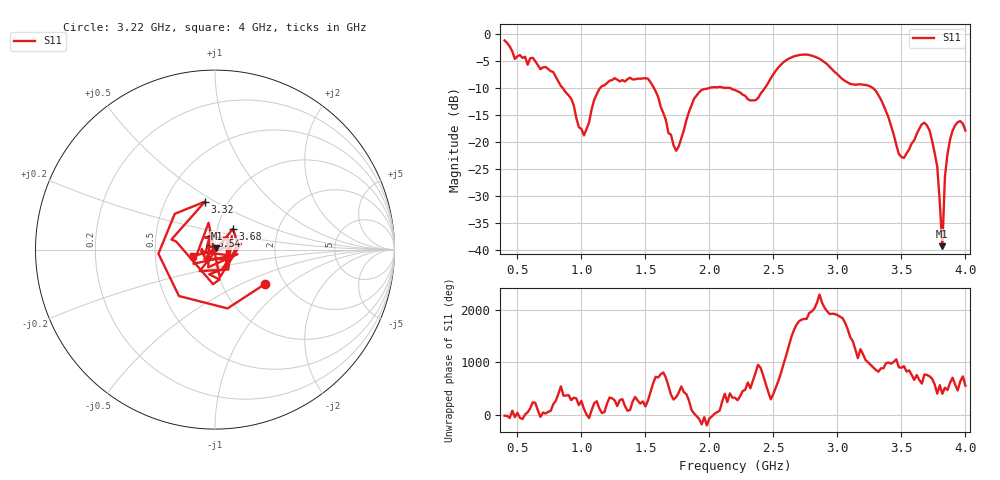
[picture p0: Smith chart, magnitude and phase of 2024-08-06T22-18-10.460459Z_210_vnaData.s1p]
!Created with skrf (http://scikit-rf.org).
# Hz S RI R 50.0
!freq ReS11 ImS11
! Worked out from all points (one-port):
!   181 points, 400 MHz to 4 GHz, reference 50 ohm
!   lowest |S11| = -39.3 dB at 3.82 GHz (marker M1), VSWR 1.02, Z = 50.8 + j0.707 ohm
!   |S11| at or under -10 dB: 855.3 MHz to 1.145 GHz (289.8 MHz wide, 29 % of centre); 1.568 GHz to 1.991 GHz (423.1 MHz wide, 23.8 % of centre); 3.28 GHz to end of sweep (the widest 3 of 4)
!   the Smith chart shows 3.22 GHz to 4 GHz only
!   S11 on the Smith chart (normalised r, x): 3.22 GHz: 1.60, -0.69; 3.32 GHz: 0.78, +0.45; 3.54 GHz: 0.95, +0.15; 3.68 GHz: 1.18, +0.28; 4 GHz: 0.78, -0.06
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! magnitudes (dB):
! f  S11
! 400 MHz  -1.1
! 480 MHz  -4.5
! 620 MHz  -4.4
! 860 MHz  -10.1
! 1.02 GHz  -18.7
! 1.14 GHz  -10.1
! 1.3 GHz  -8.7
! 1.52 GHz  -8.2
! 1.72 GHz  -20.6
! 1.76 GHz  -20.8
! 1.92 GHz  -10.7
! 2.2 GHz  -10.3
! 2.36 GHz  -12.2
! 2.66 GHz  -4.1
! 2.86 GHz  -4.5
! 3.1 GHz  -9.2
! 3.22 GHz  -9.4
! 3.32 GHz  -11.3
! 3.48 GHz  -22.2
! 3.54 GHz  -22.1
! 3.56 GHz  -21.3
! 3.68 GHz  -16.4
! 3.78 GHz  -24.5
! 3.82 GHz  -39.3
! 3.84 GHz  -26.4
! 3.88 GHz  -19.5
! 3.94 GHz  -16.3
! 4 GHz  -17.8
